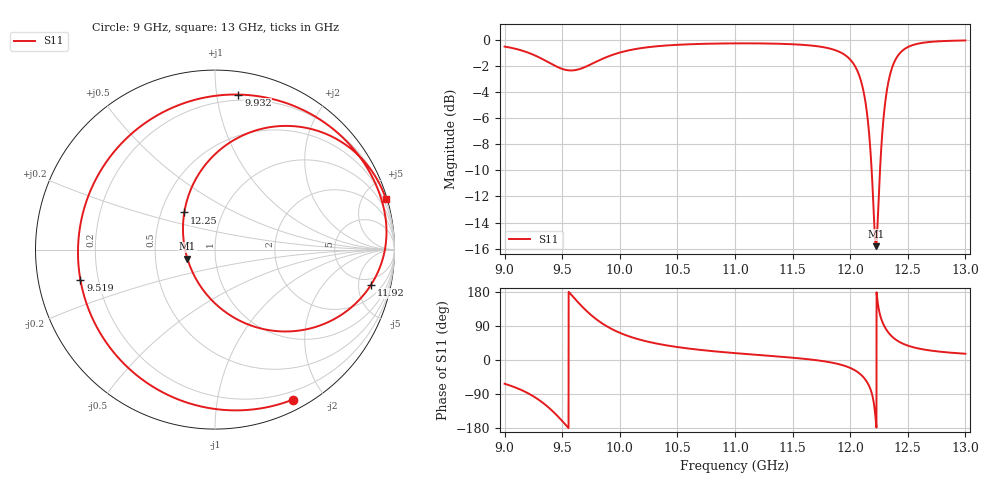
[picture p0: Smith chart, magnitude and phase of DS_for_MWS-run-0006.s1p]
! TOUCHSTONE file generated by CST DESIGN STUDIO
! Date and time: Tue Feb  4 17:58:46 2025
! Project name: C:\Work\MatlabApps\UnitCellOptimizationMatlab\CST\unitcell.cst
! Tree item: Tasks\Sweep1\SPara1\S-Parameters
! Header version: 2024
! Port assignment regex: !\s*Touchstone port\s*([0-9]+)\s*=\s*(CST MWS port|CST DES external port|CST DES block port)\s*(.+)\s* \(\"(.*)\"\)(\s*mode\s*([0-9]+))?.*
! Touchstone port assignment:
! Touchstone port 1 = CST DES external port 1 ("")
# GHz S MA R 50
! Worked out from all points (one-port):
!   4001 points, 9 GHz to 13 GHz, reference 50 ohm
!   lowest |S11| = -15.8 dB at 12.22 GHz (marker M1), VSWR 1.39, Z = 36.5 - j3.74 ohm
!   |S11| at or under -10 dB: 12.19 GHz to 12.26 GHz (72.22 MHz wide, 0.591 % of centre)
!   S11 on the Smith chart (normalised r, x): 9 GHz: 0.11, -1.64; 9.519 GHz: 0.13, -0.11; 9.932 GHz: 0.16, +1.15; 11.92 GHz: 3.68, -7.02; 12.25 GHz: 0.66, +0.29; 13 GHz: 0.16, +6.87
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9  0.9414 -62.6
9.142  0.9112 -78.7
9.292  0.859 -104.1
9.395  0.813 -128.9
9.5  0.7731 -161.0
9.519  0.7686 -167.4
9.615  0.7652 159.8
9.729  0.7974 124.5
9.822  0.8344 101.7
9.932  0.8736 81.4
10  0.8929 71.7
10.216  0.9326 50.4
10.5  0.9561 34.2
11  0.9683 18.1
11.5  0.9609 6.0
11.924  0.8908 -12.8
12  0.8397 -20.9
12.078  0.7305 -34.8
12.143  0.5352 -56.8
12.183  0.3359 -83.3
12.223  0.162 -162.0
12.251  0.2687 129.6
12.295  0.5308 90.1
12.339  0.714 69.7
12.412  0.8662 50.4
12.5  0.9371 38.0
12.679  0.9794 25.8
13  0.9935 16.6
